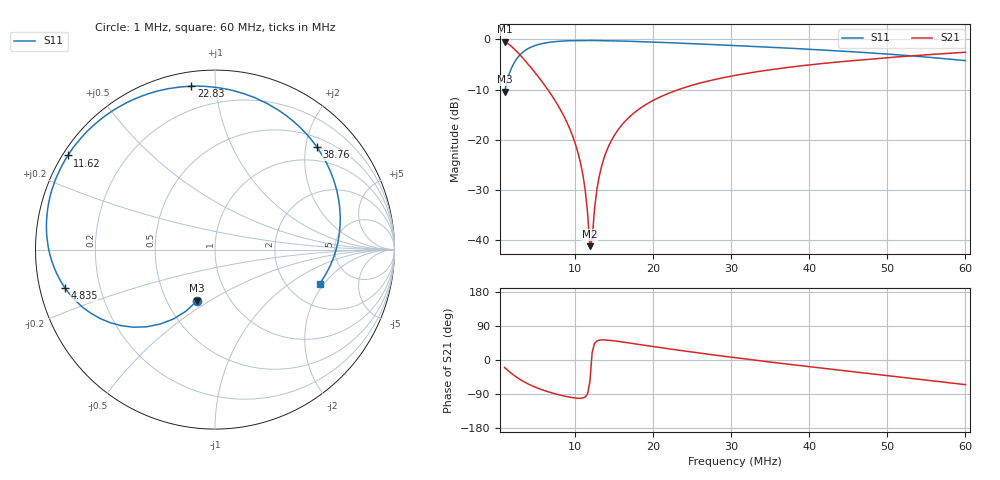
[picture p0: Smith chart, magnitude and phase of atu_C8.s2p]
! S11/S21 from S-A-A-2 VNA
! Written 2026-11-14 07:45:58 by the saav2 MCP server
! S12 and S22 were not measured (1.5-port VNA) and are written as 0
# HZ S RI R 50
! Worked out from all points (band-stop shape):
!   201 points, 1 MHz to 60 MHz, reference 50 ohm
!   highest |S21| = -0.46 dB at 1 MHz (marker M1); lowest = -41.2 dB at 11.91 MHz (marker M2)
!   |S21| within 3 dB of the highest: start of sweep to 3.174 MHz; 51.72 MHz to end of sweep
!   lowest |S11| = -10.4 dB at 1 MHz (marker M3), VSWR 1.86, Z = 35.3 - j22.1 ohm
!   |S11| at or under -10 dB: start of sweep to 1.063 MHz
!   S12 and S22 are empty: the file has one direction only
!   S11 on the Smith chart (normalised r, x): 1 MHz: 0.71, -0.44; 4.835 MHz: 0.07, -0.12; 11.62 MHz: 0.01, +0.29; 22.83 MHz: 0.07, +0.86; 38.76 MHz: 0.69, +2.23; 60 MHz: 2.97, -1.81
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1000000  -0.0986 -0.2843  0.8925 -0.3214  0 0  0 0
1590000  -0.2336 -0.3877  0.7626 -0.449  0 0  0 0
2475000  -0.4544 -0.4323  0.5475 -0.5376  0 0  0 0
4835000  -0.8372 -0.2125  0.1553 -0.4468  0 0  0 0
6605000  -0.93 0.0195  0.0322 -0.3085  0 0  0 0
8965000  -0.9205 0.2893  -0.0172 -0.1492  0 0  0 0
1.0145e7  -0.8837 0.4023  -0.0159 -0.0853  0 0  0 0
1.103e7  -0.8475 0.4775  -0.00783 -0.0439  0 0  0 0
1.162e7  -0.8203 0.5243  0.000135 -0.019  0 0  0 0
1.1915e7  -0.805 0.5461  0.00464 -0.00743  0 0  0 0
1.221e7  -0.7908 0.5672  0.00964 0.00347  0 0  0 0
1.2505e7  -0.7748 0.5875  0.0148 0.014  0 0  0 0
1.3095e7  -0.7425 0.6257  0.0261 0.0336  0 0  0 0
1.4275e7  -0.6743 0.6945  0.0521 0.0673  0 0  0 0
1.693e7  -0.508 0.8099  0.1185 0.1184  0 0  0 0
2.0765e7  -0.261 0.8965  0.2205 0.1445  0 0  0 0
2.283e7  -0.1321 0.9104  0.2735 0.14  0 0  0 0
3.05e7  0.2784 0.8198  0.4346 0.0465  0 0  0 0
3.876e7  0.5681 0.5707  0.5248 -0.1362  0 0  0 0
4.053e7  0.6081 0.5071  0.5319 -0.1812  0 0  0 0
5.0265e7  0.6971 0.1389  0.4904 -0.4398  0 0  0 0
6e7  0.583 -0.1907  0.3126 -0.6742  0 0  0 0
